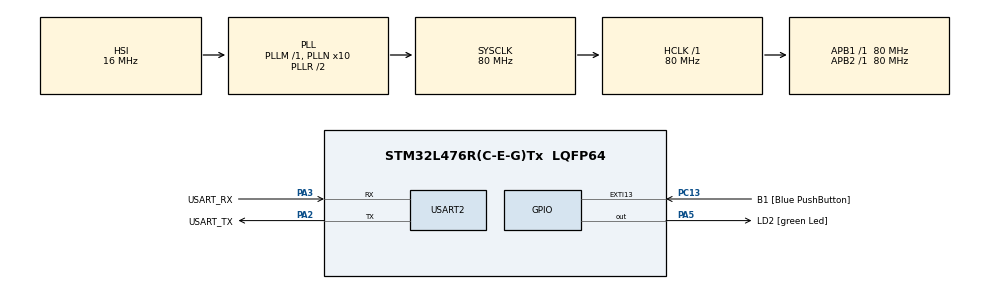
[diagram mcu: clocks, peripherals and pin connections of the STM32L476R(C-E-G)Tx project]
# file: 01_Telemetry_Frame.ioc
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ADC1.Channel-0\#ChannelRegularConversion=ADC_CHANNEL_TEMPSENSOR
ADC1.NbrOfConversionFlag=1
ADC1.OffsetNumber-0\#ChannelRegularConversion=ADC_OFFSET_NONE
ADC1.Rank-0\#ChannelRegularConversion=1
ADC1.SamplingTime-0\#ChannelRegularConversion=ADC_SAMPLETIME_2CYCLES_5
ADC1.master=1
Mcu.Family=STM32L4
Mcu.Name=STM32L476R(C-E-G)Tx
Mcu.Package=LQFP64
NVIC.PriorityGroup=NVIC_PRIORITYGROUP_4
NVIC.USART2_IRQn=true\:0\:0\:false\:false\:true\:true\:true\:true
PA13\ (JTMS-SWDIO).GPIO_Label=TMS
PA13\ (JTMS-SWDIO).Mode=Serial_Wire
PA13\ (JTMS-SWDIO).Signal=SYS_JTMS-SWDIO
PA14\ (JTCK-SWCLK).GPIO_Label=TCK
PA14\ (JTCK-SWCLK).Mode=Serial_Wire
PA14\ (JTCK-SWCLK).Signal=SYS_JTCK-SWCLK
PA2.GPIO_Label=USART_TX
PA2.GPIO_Mode=GPIO_MODE_AF_PP
PA2.GPIO_PuPd=GPIO_NOPULL
PA2.GPIO_Speed=GPIO_SPEED_FREQ_VERY_HIGH
PA2.Mode=Asynchronous
PA2.Signal=USART2_TX
PA3.GPIO_Label=USART_RX
PA3.GPIO_Mode=GPIO_MODE_AF_PP
PA3.GPIO_PuPd=GPIO_NOPULL
PA3.GPIO_Speed=GPIO_SPEED_FREQ_VERY_HIGH
PA3.Mode=Asynchronous
PA3.Signal=USART2_RX
PA5.GPIO_Label=LD2 [green Led]
PA5.GPIO_ModeDefaultOutputPP=GPIO_MODE_OUTPUT_PP
PA5.GPIO_PuPd=GPIO_NOPULL
PA5.GPIO_Speed=GPIO_SPEED_FREQ_LOW
PA5.Signal=GPIO_Output
PB3\ (JTDO-TRACESWO).GPIO_Label=SWO
PB3\ (JTDO-TRACESWO).Signal=SYS_JTDO-SWO
PC13.GPIO_Label=B1 [Blue PushButton]
PC13.GPIO_ModeDefaultEXTI=GPIO_MODE_IT_FALLING
PC13.GPIO_PuPd=GPIO_NOPULL
PC13.Signal=GPXTI13
PC14-OSC32_IN\ (PC14).Mode=LSE-External-Oscillator
PC14-OSC32_IN\ (PC14).Signal=RCC_OSC32_IN
PC15-OSC32_OUT\ (PC15).Mode=LSE-External-Oscillator
PC15-OSC32_OUT\ (PC15).Signal=RCC_OSC32_OUT
PH0-OSC_IN\ (PH0).Signal=RCC_OSC_IN
PH1-OSC_OUT\ (PH1).Signal=RCC_OSC_OUT
ProjectManager.HeapSize=0x200
ProjectManager.StackSize=0x400
ProjectManager.TargetToolchain=STM32CubeIDE
RCC.ADCFreq_Value=64000000
RCC.AHBFreq_Value=80000000
RCC.APB1Freq_Value=80000000
RCC.APB1TimFreq_Value=80000000
RCC.APB2Freq_Value=80000000
RCC.APB2TimFreq_Value=80000000
RCC.CortexFreq_Value=80000000
RCC.HCLKFreq_Value=80000000
RCC.HSE_VALUE=8000000
RCC.HSI_VALUE=16000000
RCC.MSI_VALUE=4000000
RCC.PLLN=10
RCC.PLLSourceVirtual=RCC_PLLSOURCE_HSI
RCC.PREFETCH_ENABLE=1
RCC.SYSCLKFreq_VALUE=80000000
RCC.SYSCLKSource=RCC_SYSCLKSOURCE_PLLCLK
RCC.USBFreq_Value=64000000
RCC.VCOOutputFreq_Value=160000000
USART2.VirtualMode-Asynchronous=VM_ASYNC
VP_ADC1_TempSens_Input.Mode=IN-TempSens
board=NUCLEO-L476RG

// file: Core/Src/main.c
/* USER CODE BEGIN Header */
/**
  ******************************************************************************
  * @file           : main.c
  * @brief          : Main program body
  ******************************************************************************
  * @attention
  *
  * Copyright (c) 2026 STMicroelectronics.
  * All rights reserved.
  *
  * This software is licensed under terms that can be found in the LICENSE file
  * in the root directory of this software component.
  * If no LICENSE file comes with this software, it is provided AS-IS.
  *
  ******************************************************************************
  */
/* USER CODE END Header */
#include "main.h"

/* USER CODE BEGIN Includes */
#include <stdio.h>
#include <string.h>
/* USER CODE END Includes */

ADC_HandleTypeDef hadc1;

UART_HandleTypeDef huart2;

/* USER CODE BEGIN PV */
uint8_t tx_buffer[5];
volatile uint8_t is_tx_done = 1;	// Flag
char text_buffer[50]; // 50 chars per message
/* USER CODE END PV */

void SystemClock_Config(void);
static void MX_GPIO_Init(void);
static void MX_ADC1_Init(void);
static void MX_USART2_UART_Init(void);

int main(void)
{

  /* MCU Configuration--------------------------------------------------------*/

  /* Reset of all peripherals, Initializes the Flash interface and the Systick. */
  HAL_Init();

  /* Configure the system clock */
  SystemClock_Config();

  /* Initialize all configured peripherals */
  MX_GPIO_Init();
  MX_ADC1_Init();
  MX_USART2_UART_Init();

  /* Infinite loop */
  /* USER CODE BEGIN WHILE */
  while (1)
  {
	  if (is_tx_done == 1)
	  {
		  is_tx_done = 0;	// Block flag
	  }

	  // Read ADC (temperature sensor)
	  HAL_ADC_Start(&hadc1);
	  HAL_ADC_PollForConversion(&hadc1, 10);	// Wait 10 ms for reading
	  uint16_t raw_temp = HAL_ADC_GetValue(&hadc1);

	  // Frame
	  tx_buffer[0] = 0x02;						// STX
	  tx_buffer[1] = 0x02;						// ID: 0x02 (Temperature)
	  tx_buffer[2] = (raw_temp >> 8) & 0xFF;	// Older data byte (MSB)
	  tx_buffer[3] = raw_temp & 0xFF;			// Younger data byte (LSB)
	  tx_buffer[4] = 0x03;						// ETX

	  // Send using interrupts
	  HAL_UART_Transmit_IT(&huart2, tx_buffer, 5);

	  HAL_Delay(500);	// 2 frames/sec
    /* USER CODE END WHILE */

  }
}

void SystemClock_Config(void)
{
  RCC_OscInitTypeDef RCC_OscInitStruct = {0};
  RCC_ClkInitTypeDef RCC_ClkInitStruct = {0};

  /** Configure the main internal regulator output voltage
  */
  if (HAL_PWREx_ControlVoltageScaling(PWR_REGULATOR_VOLTAGE_SCALE1) != HAL_OK)
  {
    Error_Handler();
  }

  /** Initializes the RCC Oscillators according to the specified parameters
  * in the RCC_OscInitTypeDef structure.
  */
  RCC_OscInitStruct.OscillatorType = RCC_OSCILLATORTYPE_HSI;
  RCC_OscInitStruct.HSIState = RCC_HSI_ON;
  RCC_OscInitStruct.HSICalibrationValue = RCC_HSICALIBRATION_DEFAULT;
  RCC_OscInitStruct.PLL.PLLState = RCC_PLL_ON;
  RCC_OscInitStruct.PLL.PLLSource = RCC_PLLSOURCE_HSI;
  RCC_OscInitStruct.PLL.PLLM = 1;
  RCC_OscInitStruct.PLL.PLLN = 10;
  RCC_OscInitStruct.PLL.PLLP = RCC_PLLP_DIV7;
  RCC_OscInitStruct.PLL.PLLQ = RCC_PLLQ_DIV2;
  RCC_OscInitStruct.PLL.PLLR = RCC_PLLR_DIV2;
  if (HAL_RCC_OscConfig(&RCC_OscInitStruct) != HAL_OK)
  {
    Error_Handler();
  }

  /** Initializes the CPU, AHB and APB buses clocks
  */
  RCC_ClkInitStruct.ClockType = RCC_CLOCKTYPE_HCLK|RCC_CLOCKTYPE_SYSCLK
                              |RCC_CLOCKTYPE_PCLK1|RCC_CLOCKTYPE_PCLK2;
  RCC_ClkInitStruct.SYSCLKSource = RCC_SYSCLKSOURCE_PLLCLK;
  RCC_ClkInitStruct.AHBCLKDivider = RCC_SYSCLK_DIV1;
  RCC_ClkInitStruct.APB1CLKDivider = RCC_HCLK_DIV1;
  RCC_ClkInitStruct.APB2CLKDivider = RCC_HCLK_DIV1;

  if (HAL_RCC_ClockConfig(&RCC_ClkInitStruct, FLASH_LATENCY_4) != HAL_OK)
  {
    Error_Handler();
  }
}

static void MX_ADC1_Init(void)
{

  ADC_MultiModeTypeDef multimode = {0};
  ADC_ChannelConfTypeDef sConfig = {0};

  /** Common config
  */
  hadc1.Instance = ADC1;
  hadc1.Init.ClockPrescaler = ADC_CLOCK_ASYNC_DIV1;
  hadc1.Init.Resolution = ADC_RESOLUTION_12B;
  hadc1.Init.DataAlign = ADC_DATAALIGN_RIGHT;
  hadc1.Init.ScanConvMode = ADC_SCAN_DISABLE;
  hadc1.Init.EOCSelection = ADC_EOC_SINGLE_CONV;
  hadc1.Init.LowPowerAutoWait = DISABLE;
  hadc1.Init.ContinuousConvMode = DISABLE;
  hadc1.Init.NbrOfConversion = 1;
  hadc1.Init.DiscontinuousConvMode = DISABLE;
  hadc1.Init.ExternalTrigConv = ADC_SOFTWARE_START;
  hadc1.Init.ExternalTrigConvEdge = ADC_EXTERNALTRIGCONVEDGE_NONE;
  hadc1.Init.DMAContinuousRequests = DISABLE;
  hadc1.Init.Overrun = ADC_OVR_DATA_PRESERVED;
  hadc1.Init.OversamplingMode = DISABLE;
  if (HAL_ADC_Init(&hadc1) != HAL_OK)
  {
    Error_Handler();
  }

  /** Configure the ADC multi-mode
  */
  multimode.Mode = ADC_MODE_INDEPENDENT;
  if (HAL_ADCEx_MultiModeConfigChannel(&hadc1, &multimode) != HAL_OK)
  {
    Error_Handler();
  }

  /** Configure Regular Channel
  */
  sConfig.Channel = ADC_CHANNEL_TEMPSENSOR;
  sConfig.Rank = ADC_REGULAR_RANK_1;
  sConfig.SamplingTime = ADC_SAMPLETIME_2CYCLES_5;
  sConfig.SingleDiff = ADC_SINGLE_ENDED;
  sConfig.OffsetNumber = ADC_OFFSET_NONE;
  sConfig.Offset = 0;
  if (HAL_ADC_ConfigChannel(&hadc1, &sConfig) != HAL_OK)
  {
    Error_Handler();
  }

}

static void MX_USART2_UART_Init(void)
{

  huart2.Instance = USART2;
  huart2.Init.BaudRate = 115200;
  huart2.Init.WordLength = UART_WORDLENGTH_8B;
  huart2.Init.StopBits = UART_STOPBITS_1;
  huart2.Init.Parity = UART_PARITY_NONE;
  huart2.Init.Mode = UART_MODE_TX_RX;
  huart2.Init.HwFlowCtl = UART_HWCONTROL_NONE;
  huart2.Init.OverSampling = UART_OVERSAMPLING_16;
  huart2.Init.OneBitSampling = UART_ONE_BIT_SAMPLE_DISABLE;
  huart2.AdvancedInit.AdvFeatureInit = UART_ADVFEATURE_NO_INIT;
  if (HAL_UART_Init(&huart2) != HAL_OK)
  {
    Error_Handler();
  }

}

static void MX_GPIO_Init(void)
{
  GPIO_InitTypeDef GPIO_InitStruct = {0};

  /* GPIO Ports Clock Enable */
  __HAL_RCC_GPIOC_CLK_ENABLE();
  __HAL_RCC_GPIOH_CLK_ENABLE();
  __HAL_RCC_GPIOA_CLK_ENABLE();
  __HAL_RCC_GPIOB_CLK_ENABLE();

  /*Configure GPIO pin Output Level */
  HAL_GPIO_WritePin(LD2_GPIO_Port, LD2_Pin, GPIO_PIN_RESET);

  /*Configure GPIO pin : B1_Pin */
  GPIO_InitStruct.Pin = B1_Pin;
  GPIO_InitStruct.Mode = GPIO_MODE_IT_FALLING;
  GPIO_InitStruct.Pull = GPIO_NOPULL;
  HAL_GPIO_Init(B1_GPIO_Port, &GPIO_InitStruct);

  /*Configure GPIO pin : LD2_Pin */
  GPIO_InitStruct.Pin = LD2_Pin;
  GPIO_InitStruct.Mode = GPIO_MODE_OUTPUT_PP;
  GPIO_InitStruct.Pull = GPIO_NOPULL;
  GPIO_InitStruct.Speed = GPIO_SPEED_FREQ_LOW;
  HAL_GPIO_Init(LD2_GPIO_Port, &GPIO_InitStruct);

}

/* USER CODE BEGIN 4 */
// Callback function automatically turned when send is complete
void HAL_UART_TxCpltCallback(UART_HandleTypeDef *huart)
{
	if (huart->Instance == USART2)
	{
		is_tx_done = 1;	// Unlock sending next frame
	}
}
/* USER CODE END 4 */

void Error_Handler(void)
{
  __disable_irq();
  while (1)
  {
  }
}
